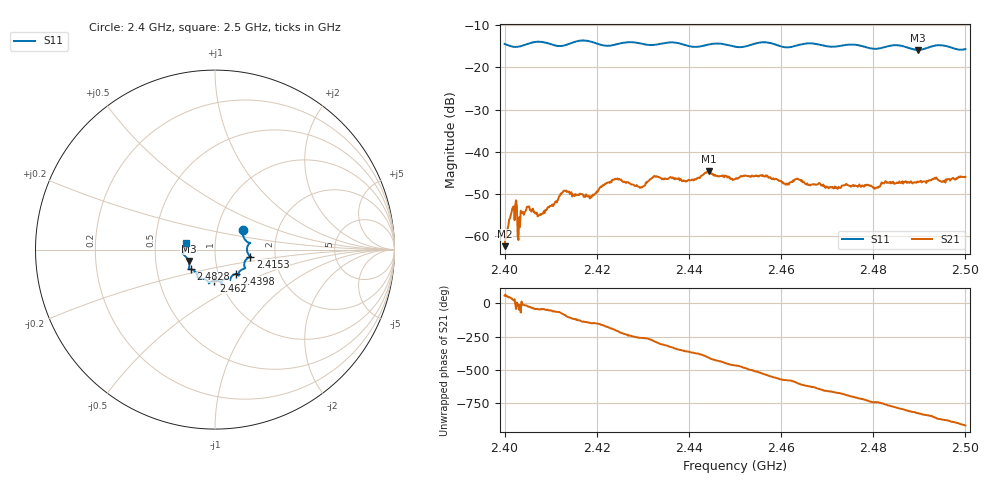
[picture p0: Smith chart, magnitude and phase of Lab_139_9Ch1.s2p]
# Hz S RI R 50
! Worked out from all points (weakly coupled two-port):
!   601 points, 2.4 GHz to 2.5 GHz, reference 50 ohm
!   highest |S21| = -44.62 dB at 2.4443 GHz (marker M1); lowest = -62.3 dB at 2.4 GHz (marker M2)
!   lowest |S11| = -15.9 dB at 2.4897 GHz (marker M3), VSWR 1.38, Z = 36.9 - j4.81 ohm
!   |S11| at or under -10 dB: start of sweep to end of sweep
!   S12 and S22 are empty: the file has one direction only
!   S11 on the Smith chart (normalised r, x): 2.4 GHz: 1.33, +0.29; 2.4153 GHz: 1.48, -0.12; 2.4398 GHz: 1.21, -0.34; 2.462 GHz: 0.93, -0.33; 2.4828 GHz: 0.74, -0.17; 2.5 GHz: 0.72, +0.06
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2.4e9  0.1554 0.1068  0.0004 0.000656  0 0  0 0
2.4015e9  0.156 0.0825  0.00152 0.00117  0 0  0 0
2.402167e9  0.1585 0.0717  0.00134 0.000798  0 0  0 0
2.403333e9  0.1677 0.0547  0.00126 -0.000281  0 0  0 0
2.404833e9  0.1828 0.0406  0.00211 -0.000745  0 0  0 0
2.407667e9  0.1963 0.0377  0.00129 -0.0013  0 0  0 0
2.412667e9  0.1793 -0.00974  0.000549 -0.00332  0 0  0 0
2.415333e9  0.1962 -0.0386  -0.00148 -0.0028  0 0  0 0
2.416667e9  0.2023 -0.0426  -0.00227 -0.00223  0 0  0 0
2.419e9  0.1941 -0.0418  -0.00253 -0.00153  0 0  0 0
2.424e9  0.1629 -0.0873  -0.0045 0.00173  0 0  0 0
2.4295e9  0.1581 -0.1074  -0.000683 0.00369  0 0  0 0
2.433333e9  0.1308 -0.1338  0.0025 0.00436  0 0  0 0
2.439833e9  0.1155 -0.1361  0.00461 -0.0003  0 0  0 0
2.444333e9  0.0849 -0.1653  0.00371 -0.00456  0 0  0 0
2.45e9  0.0652 -0.1624  -0.00138 -0.00456  0 0  0 0
2.462e9  -0.00508 -0.1729  -0.00325 0.00291  0 0  0 0
2.466667e9  -0.0342 -0.1881  3.7e-05 0.00412  0 0  0 0
2.482833e9  -0.1364 -0.1093  0.00319 -0.00303  0 0  0 0
2.483333e9  -0.1401 -0.109  0.00275 -0.00336  0 0  0 0
2.489667e9  -0.1471 -0.0635  -0.00141 -0.00424  0 0  0 0
2.5e9  -0.1591 0.0389  -0.00474 0.00176  0 0  0 0
